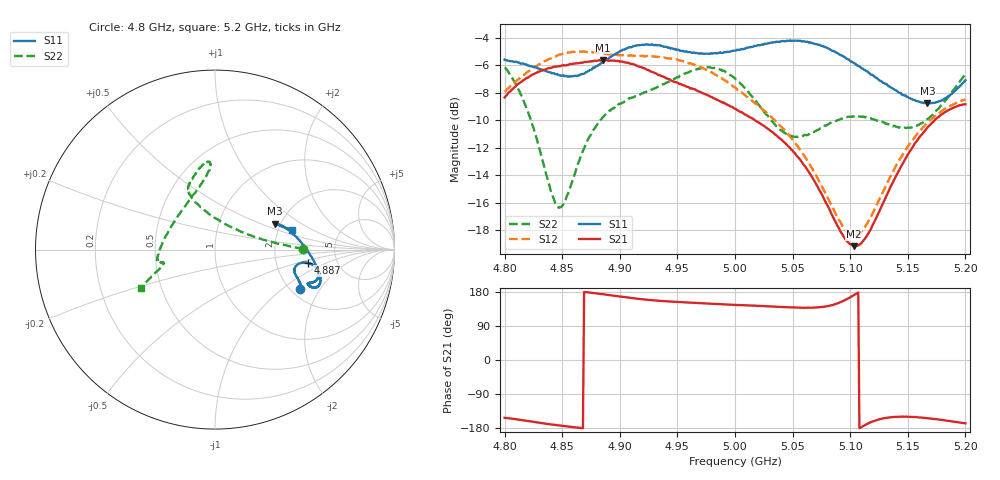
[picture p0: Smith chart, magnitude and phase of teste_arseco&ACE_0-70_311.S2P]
! Network Analyzer HP8722D
! Hewlett-Packard
! Data name: Linha & Wilkinson
! Saver's name: Rodrigo Anjos
! Comments: Teste da utilização de aquisição
! continua pelo VNA HP8722D
! Time and date: 8/5/2025 15:21
!  Frequency  S11  S21  S12  S22
# HZ  S  MA R 50
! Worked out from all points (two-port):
!   401 points, 4.8 GHz to 5.2 GHz, reference 50 ohm
!   highest |S21| = -5.63 dB at 4.885 GHz (marker M1); lowest = -19.2 dB at 5.103 GHz (marker M2)
!   |S21| within 3 dB of the highest: start of sweep to 4.987 GHz
!   lowest |S11| = -8.8 dB at 5.167 GHz (marker M3), VSWR 2.14, Z = 93.3 + j31 ohm
!   |S11| at or under -10 dB: nowhere
!   |S22| runs from -16.4 to -6.2 dB; largest |S21 - S12| = 1.1
!   S11 on the Smith chart (normalised r, x): 4.8 GHz: 2.23, -1.37; 4.887 GHz: 3.04, -0.61; 5.2 GHz: 2.36, +0.66
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4.8e9  0.5243 -25.0  0.3822 -152.6  0.4015 7.0  0.491 0.5
4.818e9  0.5034 -21.0  0.4465 -159.9  0.4658 4.3  0.3581 5.3
4.84e9  0.4711 -17.5  0.489 -170.0  0.5295 0.7  0.1753 34.6
4.846e9  0.4637 -16.3  0.4959 -172.3  0.5435 -0.2  0.1537 55.8
4.853e9  0.4575 -14.6  0.4992 -174.6  0.5553 -1.5  0.1624 80.7
4.867e9  0.4645 -10.8  0.511 -179.7  0.5597 -3.5  0.2388 106.8
4.885e9  0.5127 -8.1  0.5232 173.9  0.5512 -4.5  0.3229 114.0
4.887e9  0.5215 -8.1  0.5228 173.0  0.5515 -4.4  0.3294 114.4
4.913e9  0.5882 -12.1  0.5023 162.6  0.5417 -3.7  0.3855 112.3
4.934e9  0.5916 -16.9  0.4607 156.1  0.5372 -4.4  0.4188 106.9
4.973e9  0.5509 -19.8  0.3947 149.5  0.4864 -7.7  0.4899 95.5
5e9  0.5657 -20.9  0.3478 145.3  0.4167 -7.6  0.4482 94.0
5.041e9  0.6122 -19.0  0.2671 139.9  0.2971 0.0  0.2887 128.4
5.067e9  0.6023 -14.2  0.1962 138.2  0.2112 8.4  0.2855 165.3
5.092e9  0.544 -5.1  0.1236 153.0  0.1338 32.2  0.32 -174.4
5.103e9  0.511 0.0  0.1102 171.1  0.1203 52.8  0.3255 -170.1
5.115e9  0.4747 6.3  0.1211 -168.2  0.1337 75.6  0.3222 -167.8
5.134e9  0.4187 15.7  0.1768 -151.5  0.1935 94.0  0.3051 -166.5
5.152e9  0.3793 21.9  0.2444 -150.0  0.2602 98.6  0.297 -164.6
5.167e9  0.3635 23.4  0.2969 -153.5  0.3095 99.2  0.3195 -161.6
5.183e9  0.3805 20.7  0.3392 -159.7  0.3486 99.0  0.374 -157.7
5.2e9  0.4417 14.6  0.3612 -167.1  0.3755 99.6  0.4644 -152.3
